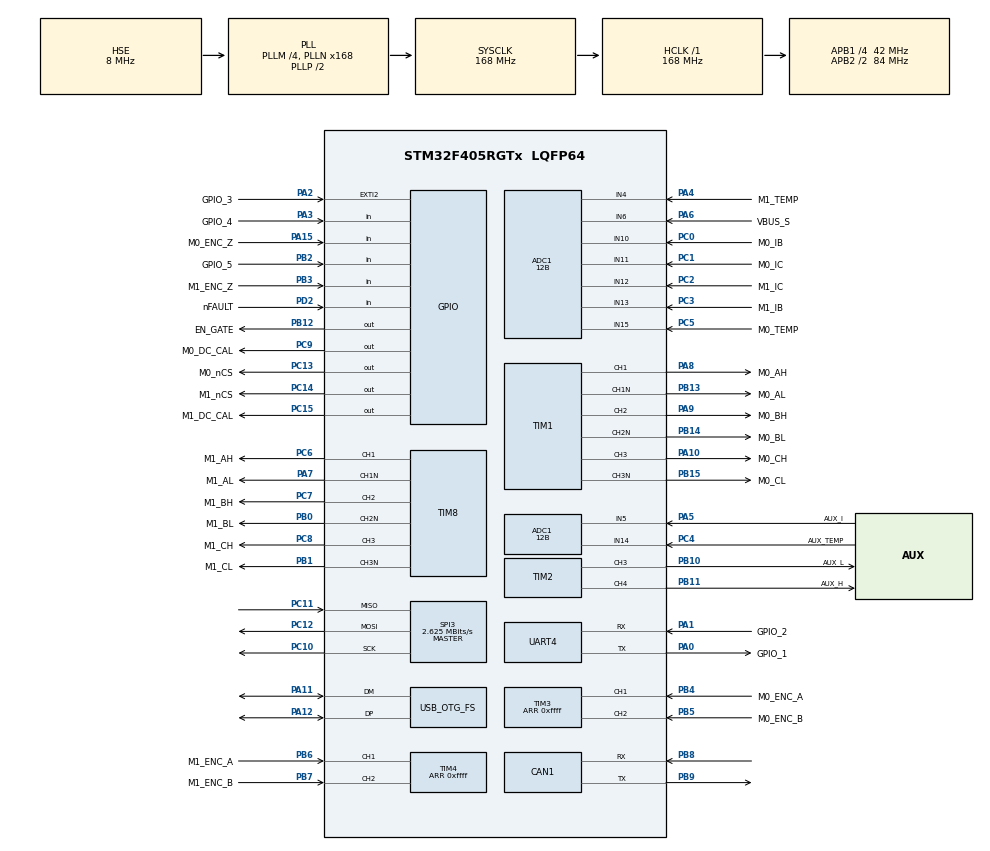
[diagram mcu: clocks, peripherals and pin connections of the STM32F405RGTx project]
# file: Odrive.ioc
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ADC1.Channel-0\#ChannelRegularConversion=ADC_CHANNEL_6
ADC1.Channel-1\#ChannelInjectedConversion=ADC_CHANNEL_6
ADC1.ClockPrescaler=ADC_CLOCK_SYNC_PCLK_DIV4
ADC1.ContinuousConvMode=DISABLE
ADC1.DMAContinuousRequests=DISABLE
ADC1.DataAlign=ADC_DATAALIGN_RIGHT
ADC1.DiscontinuousConvMode=DISABLE
ADC1.EOCSelection=ADC_EOC_SINGLE_CONV
ADC1.EnableAnalogWatchDog=false
ADC1.ExternalTrigConv=ADC_SOFTWARE_START
ADC1.ExternalTrigConvEdge=ADC_EXTERNALTRIGCONVEDGE_NONE
ADC1.ExternalTrigInjecConv=ADC_EXTERNALTRIGINJECCONV_T1_TRGO
ADC1.ExternalTrigInjecConvEdge=ADC_EXTERNALTRIGINJECCONVEDGE_RISING
ADC1.InjNumberOfConversion=1
ADC1.InjectedConvMode=None
ADC1.InjectedOffset-1\#ChannelInjectedConversion=0
ADC1.NbrOfConversion=1
ADC1.NbrOfConversionFlag=1
ADC1.Rank-0\#ChannelRegularConversion=1
ADC1.Rank-1\#ChannelInjectedConversion=1
ADC1.Resolution=ADC_RESOLUTION_12B
ADC1.SamplingTime-0\#ChannelRegularConversion=ADC_SAMPLETIME_3CYCLES
ADC1.SamplingTime-1\#ChannelInjectedConversion=ADC_SAMPLETIME_3CYCLES
ADC1.ScanConvMode=DISABLE
ADC1.master=1
ADC2.Channel-0\#ChannelRegularConversion=ADC_CHANNEL_13
ADC2.Channel-1\#ChannelInjectedConversion=ADC_CHANNEL_10
ADC2.ClockPrescaler=ADC_CLOCK_SYNC_PCLK_DIV4
ADC2.ContinuousConvMode=DISABLE
ADC2.DMAContinuousRequests=DISABLE
ADC2.DataAlign=ADC_DATAALIGN_RIGHT
ADC2.DiscontinuousConvMode=DISABLE
ADC2.EOCSelection=ADC_EOC_SINGLE_CONV
ADC2.EnableAnalogWatchDog=false
ADC2.ExternalTrigConv=ADC_EXTERNALTRIGCONV_T8_TRGO
ADC2.ExternalTrigConvEdge=ADC_EXTERNALTRIGCONVEDGE_RISING
ADC2.ExternalTrigInjecConv=ADC_EXTERNALTRIGINJECCONV_T1_TRGO
ADC2.ExternalTrigInjecConvEdge=ADC_EXTERNALTRIGINJECCONVEDGE_RISING
ADC2.InjNumberOfConversion=1
ADC2.InjectedConvMode=None
ADC2.InjectedOffset-1\#ChannelInjectedConversion=0
ADC2.NbrOfConversion=1
ADC2.NbrOfConversionFlag=1
ADC2.Rank-0\#ChannelRegularConversion=1
ADC2.Rank-1\#ChannelInjectedConversion=1
ADC2.Resolution=ADC_RESOLUTION_12B
ADC2.SamplingTime-0\#ChannelRegularConversion=ADC_SAMPLETIME_3CYCLES
ADC2.SamplingTime-1\#ChannelInjectedConversion=ADC_SAMPLETIME_3CYCLES
ADC2.ScanConvMode=DISABLE
ADC3.Channel-7\#ChannelRegularConversion=ADC_CHANNEL_12
ADC3.Channel-8\#ChannelInjectedConversion=ADC_CHANNEL_11
ADC3.ClockPrescaler=ADC_CLOCK_SYNC_PCLK_DIV4
ADC3.ContinuousConvMode=DISABLE
ADC3.DMAContinuousRequests=DISABLE
ADC3.DataAlign=ADC_DATAALIGN_RIGHT
ADC3.DiscontinuousConvMode=DISABLE
ADC3.EOCSelection=ADC_EOC_SINGLE_CONV
ADC3.EnableAnalogWatchDog=false
ADC3.ExternalTrigConv=ADC_EXTERNALTRIGCONV_T8_TRGO
ADC3.ExternalTrigConvEdge=ADC_EXTERNALTRIGCONVEDGE_RISING
ADC3.ExternalTrigInjecConv=ADC_EXTERNALTRIGINJECCONV_T1_TRGO
ADC3.ExternalTrigInjecConvEdge=ADC_EXTERNALTRIGINJECCONVEDGE_RISING
ADC3.InjNumberOfConversion=1
ADC3.InjectedConvMode=None
ADC3.InjectedOffset-8\#ChannelInjectedConversion=0
ADC3.NbrOfConversion=1
ADC3.NbrOfConversionFlag=1
ADC3.Rank-7\#ChannelRegularConversion=1
ADC3.Rank-8\#ChannelInjectedConversion=1
ADC3.Resolution=ADC_RESOLUTION_12B
ADC3.SamplingTime-7\#ChannelRegularConversion=ADC_SAMPLETIME_3CYCLES
ADC3.SamplingTime-8\#ChannelInjectedConversion=ADC_SAMPLETIME_3CYCLES
ADC3.ScanConvMode=DISABLE
CAN1.CalculateTimeBit=1142
CAN1.CalculateTimeQuantum=380.95238095238096
Dma.Request0=UART4_RX
Dma.Request1=UART4_TX
Dma.UART4_RX.0.Direction=DMA_PERIPH_TO_MEMORY
Dma.UART4_RX.0.FIFOMode=DMA_FIFOMODE_DISABLE
Dma.UART4_RX.0.Instance=DMA1_Stream2
Dma.UART4_RX.0.MemDataAlignment=DMA_MDATAALIGN_BYTE
Dma.UART4_RX.0.MemInc=DMA_MINC_ENABLE
Dma.UART4_RX.0.Mode=DMA_CIRCULAR
Dma.UART4_RX.0.PeriphDataAlignment=DMA_PDATAALIGN_BYTE
Dma.UART4_RX.0.PeriphInc=DMA_PINC_DISABLE
Dma.UART4_RX.0.Priority=DMA_PRIORITY_LOW
Dma.UART4_TX.1.Direction=DMA_MEMORY_TO_PERIPH
Dma.UART4_TX.1.FIFOMode=DMA_FIFOMODE_DISABLE
Dma.UART4_TX.1.Instance=DMA1_Stream4
Dma.UART4_TX.1.MemDataAlignment=DMA_MDATAALIGN_BYTE
Dma.UART4_TX.1.MemInc=DMA_MINC_ENABLE
Dma.UART4_TX.1.Mode=DMA_NORMAL
Dma.UART4_TX.1.PeriphDataAlignment=DMA_PDATAALIGN_BYTE
Dma.UART4_TX.1.PeriphInc=DMA_PINC_DISABLE
Dma.UART4_TX.1.Priority=DMA_PRIORITY_LOW
FREERTOS.INCLUDE_vTaskDelayUntil=1
FREERTOS.Tasks01=defaultTask,-3,256,StartDefaultTask,Default
Mcu.Family=STM32F4
Mcu.Name=STM32F405RGTx
Mcu.Package=LQFP64
Mcu.UserConstants=TIM_1_8_CLOCK_HZ,168000000;TIM_1_8_PERIOD_CLOCKS,10192;TIM_1_8_DEADTIME_CLOCKS,20;TIM_APB1_CLOCK_HZ,84000000;TIM_APB1_PERIOD_CLOCKS,4096;TIM_APB1_DEADTIME_CLOCKS,40
NVIC.ADC_IRQn=true\:5\:0\:false\:false\:true\:true\:true
NVIC.DMA1_Stream2_IRQn=true\:5\:0\:false\:false\:true\:true\:true
NVIC.DMA1_Stream4_IRQn=true\:5\:0\:false\:false\:true\:true\:false
NVIC.EXTI2_IRQn=true\:0\:0\:false\:false\:false\:false\:true
NVIC.OTG_FS_IRQn=true\:5\:0\:false\:false\:true\:true\:true
NVIC.PriorityGroup=NVIC_PRIORITYGROUP_4
NVIC.TIM8_TRG_COM_TIM14_IRQn=true\:0\:0\:false\:false\:true\:false\:false
NVIC.TimeBase=TIM8_TRG_COM_TIM14_IRQn
NVIC.TimeBaseIP=TIM14
NVIC.UART4_IRQn=true\:5\:0\:false\:false\:true\:true\:true
PA0-WKUP.GPIO_Label=GPIO_1
PA0-WKUP.GPIO_PuPd=GPIO_PULLDOWN
PA0-WKUP.Signal=SharedStack_PA0
PA0-WKUP.Stacked=true
PA1.GPIO_Label=GPIO_2
PA1.GPIO_PuPd=GPIO_NOPULL
PA1.Signal=SharedStack_PA1
PA1.Stacked=true
PA10.GPIO_Label=M0_CH
PA10.Signal=S_TIM1_CH3
PA11.Mode=Device_Only
PA11.Signal=USB_OTG_FS_DM
PA12.Mode=Device_Only
PA12.Signal=USB_OTG_FS_DP
PA13.Mode=Serial_Wire
PA13.Signal=SYS_JTMS-SWDIO
PA14.Mode=Serial_Wire
PA14.Signal=SYS_JTCK-SWCLK
PA15.GPIO_Label=M0_ENC_Z
PA15.Signal=GPIO_Input
PA2.GPIO_Label=GPIO_3
PA2.GPIO_PuPd=GPIO_PULLDOWN
PA2.Signal=GPXTI2
PA3.GPIO_Label=GPIO_4
PA3.GPIO_PuPd=GPIO_NOPULL
PA3.Signal=GPIO_Input
PA4.GPIO_Label=M1_TEMP
PA4.Signal=ADCx_IN4
PA5.GPIO_Label=AUX_I
PA5.Signal=ADCx_IN5
PA6.GPIO_Label=VBUS_S
PA6.Signal=ADCx_IN6
PA7.GPIO_Label=M1_AL
PA7.Mode=PWM Generation1 CH1 CH1N
PA7.Signal=TIM8_CH1N
PA8.GPIO_Label=M0_AH
PA8.Signal=S_TIM1_CH1
PA9.GPIO_Label=M0_BH
PA9.Signal=S_TIM1_CH2
PB0.GPIO_Label=M1_BL
PB0.Mode=PWM Generation2 CH2 CH2N
PB0.Signal=TIM8_CH2N
PB1.GPIO_Label=M1_CL
PB1.Mode=PWM Generation3 CH3 CH3N
PB1.Signal=TIM8_CH3N
PB10.GPIO_Label=AUX_L
PB10.Signal=S_TIM2_CH3
PB11.GPIO_Label=AUX_H
PB11.Signal=S_TIM2_CH4
PB12.GPIO_Label=EN_GATE
PB12.Signal=GPIO_Output
PB13.GPIO_Label=M0_AL
PB13.Mode=PWM Generation1 CH1 CH1N
PB13.Signal=TIM1_CH1N
PB14.GPIO_Label=M0_BL
PB14.Mode=PWM Generation2 CH2 CH2N
PB14.Signal=TIM1_CH2N
PB15.GPIO_Label=M0_CL
PB15.Mode=PWM Generation3 CH3 CH3N
PB15.Signal=TIM1_CH3N
PB2.GPIO_Label=GPIO_5
PB2.Signal=GPIO_Input
PB3.GPIO_Label=M1_ENC_Z
PB3.Signal=GPIO_Input
PB4.GPIO_Label=M0_ENC_A
PB4.Signal=S_TIM3_CH1
PB5.GPIO_Label=M0_ENC_B
PB5.Signal=S_TIM3_CH2
PB6.GPIO_Label=M1_ENC_A
PB6.Signal=S_TIM4_CH1
PB7.GPIO_Label=M1_ENC_B
PB7.Signal=S_TIM4_CH2
PB8.Mode=Master
PB8.Signal=CAN1_RX
PB9.Mode=Master
PB9.Signal=CAN1_TX
PC0.GPIO_Label=M0_IB
PC0.Signal=ADCx_IN10
PC1.GPIO_Label=M0_IC
PC1.Signal=ADCx_IN11
PC10.Mode=Full_Duplex_Master
PC10.Signal=SPI3_SCK
PC11.Mode=Full_Duplex_Master
PC11.Signal=SPI3_MISO
PC12.Mode=Full_Duplex_Master
PC12.Signal=SPI3_MOSI
PC13-ANTI_TAMP.GPIO_Label=M0_nCS
PC13-ANTI_TAMP.PinState=GPIO_PIN_SET
PC13-ANTI_TAMP.Signal=GPIO_Output
PC14-OSC32_IN.GPIO_Label=M1_nCS
PC14-OSC32_IN.PinState=GPIO_PIN_SET
PC14-OSC32_IN.Signal=GPIO_Output
PC15-OSC32_OUT.GPIO_Label=M1_DC_CAL
PC15-OSC32_OUT.Signal=GPIO_Output
PC2.GPIO_Label=M1_IC
PC2.Signal=ADCx_IN12
PC3.GPIO_Label=M1_IB
PC3.Signal=ADCx_IN13
PC4.GPIO_Label=AUX_TEMP
PC4.Signal=ADCx_IN14
PC5.GPIO_Label=M0_TEMP
PC5.Signal=ADCx_IN15
PC6.GPIO_Label=M1_AH
PC6.Signal=S_TIM8_CH1
PC7.GPIO_Label=M1_BH
PC7.Signal=S_TIM8_CH2
PC8.GPIO_Label=M1_CH
PC8.Signal=S_TIM8_CH3
PC9.GPIO_Label=M0_DC_CAL
PC9.Signal=GPIO_Output
PD2.GPIO_Label=nFAULT
PD2.GPIO_PuPd=GPIO_PULLUP
PD2.Signal=GPIO_Input
PH0-OSC_IN.Mode=HSE-External-Oscillator
PH0-OSC_IN.Signal=RCC_OSC_IN
PH1-OSC_OUT.Mode=HSE-External-Oscillator
PH1-OSC_OUT.Signal=RCC_OSC_OUT
ProjectManager.HeapSize=0x3C00
ProjectManager.StackSize=0x800
ProjectManager.TargetToolchain=Makefile
RCC.48MHZClocksFreq_Value=48000000
RCC.AHBFreq_Value=168000000
RCC.APB1CLKDivider=RCC_HCLK_DIV4
RCC.APB1Freq_Value=42000000
RCC.APB1TimFreq_Value=84000000
RCC.APB2CLKDivider=RCC_HCLK_DIV2
RCC.APB2Freq_Value=84000000
RCC.APB2TimCLKDivider=1
RCC.APB2TimFreq_Value=84000000
RCC.CortexFreq_Value=168000000
RCC.HCLKFreq_Value=168000000
RCC.HSE_VALUE=8000000
RCC.HSI_VALUE=16000000
RCC.LSE_VALUE=32768
RCC.PLLM=4
RCC.PLLN=168
RCC.PLLQ=7
RCC.SYSCLKFreq_VALUE=168000000
RCC.SYSCLKSource=RCC_SYSCLKSOURCE_PLLCLK
RCC.VCOOutputFreq_Value=336000000
SH.ADCx_IN10.0=ADC1_IN10,IN10
SH.ADCx_IN10.1=ADC2_IN10,IN10
SH.ADCx_IN10.2=ADC3_IN10,IN10
SH.ADCx_IN11.0=ADC1_IN11,IN11
SH.ADCx_IN11.1=ADC2_IN11,IN11
SH.ADCx_IN11.2=ADC3_IN11,IN11
SH.ADCx_IN12.0=ADC1_IN12,IN12
SH.ADCx_IN12.1=ADC2_IN12,IN12
SH.ADCx_IN12.2=ADC3_IN12,IN12
SH.ADCx_IN13.0=ADC1_IN13,IN13
SH.ADCx_IN13.1=ADC2_IN13,IN13
SH.ADCx_IN13.2=ADC3_IN13,IN13
SH.ADCx_IN14.0=ADC1_IN14,IN14
SH.ADCx_IN14.1=ADC2_IN14,IN14
SH.ADCx_IN15.0=ADC1_IN15,IN15
SH.ADCx_IN15.1=ADC2_IN15,IN15
SH.ADCx_IN4.0=ADC1_IN4,IN4
SH.ADCx_IN4.1=ADC2_IN4,IN4
SH.ADCx_IN5.0=ADC1_IN5,IN5
SH.ADCx_IN5.1=ADC2_IN5,IN5
SH.ADCx_IN6.0=ADC1_IN6,IN6
SH.ADCx_IN6.1=ADC2_IN6,IN6
SH.S_TIM1_CH1.0=TIM1_CH1,PWM Generation1 CH1 CH1N
SH.S_TIM1_CH2.0=TIM1_CH2,PWM Generation2 CH2 CH2N
SH.S_TIM1_CH3.0=TIM1_CH3,PWM Generation3 CH3 CH3N
SH.S_TIM2_CH3.0=TIM2_CH3,PWM Generation3 CH3
SH.S_TIM2_CH4.0=TIM2_CH4,PWM Generation4 CH4
SH.S_TIM3_CH1.0=TIM3_CH1,Encoder_Interface
SH.S_TIM3_CH2.0=TIM3_CH2,Encoder_Interface
SH.S_TIM4_CH1.0=TIM4_CH1,Encoder_Interface
SH.S_TIM4_CH2.0=TIM4_CH2,Encoder_Interface
SH.S_TIM8_CH1.0=TIM8_CH1,PWM Generation1 CH1 CH1N
SH.S_TIM8_CH2.0=TIM8_CH2,PWM Generation2 CH2 CH2N
SH.S_TIM8_CH3.0=TIM8_CH3,PWM Generation3 CH3 CH3N
SH.SharedStack_PA0.0=GPIO_EXTI0+0
SH.SharedStack_PA0.1=UART4_TX,Asynchronous
SH.SharedStack_PA1.0=GPIO_Input+0
SH.SharedStack_PA1.1=UART4_RX,Asynchronous
SPI3.BaudRatePrescaler=SPI_BAUDRATEPRESCALER_16
SPI3.CLKPhase=SPI_PHASE_2EDGE
SPI3.CalculateBaudRate=2.625 MBits/s
SPI3.DataSize=SPI_DATASIZE_16BIT
SPI3.Direction=SPI_DIRECTION_2LINES
SPI3.FirstBit=SPI_FIRSTBIT_MSB
SPI3.Mode=SPI_MODE_MASTER
SPI3.VirtualType=VM_MASTER
TIM1.Channel-Output\ Compare4\ No\ Output=TIM_CHANNEL_4
TIM1.Channel-PWM\ Generation1\ CH1\ CH1N=TIM_CHANNEL_1
TIM1.Channel-PWM\ Generation2\ CH2\ CH2N=TIM_CHANNEL_2
TIM1.Channel-PWM\ Generation3\ CH3\ CH3N=TIM_CHANNEL_3
TIM1.CounterMode=TIM_COUNTERMODE_CENTERALIGNED3
TIM1.DeadTime=TIM_1_8_DEADTIME_CLOCKS
TIM1.OCMode_PWM-PWM\ Generation1\ CH1\ CH1N=TIM_OCMODE_PWM2
TIM1.OCMode_PWM-PWM\ Generation2\ CH2\ CH2N=TIM_OCMODE_PWM2
TIM1.OCMode_PWM-PWM\ Generation3\ CH3\ CH3N=TIM_OCMODE_PWM2
TIM1.OCNPolarity_1=TIM_OCNPOLARITY_HIGH
TIM1.OCNPolarity_2=TIM_OCNPOLARITY_HIGH
TIM1.OCNPolarity_3=TIM_OCNPOLARITY_HIGH
TIM1.OffStateIDLEMode=TIM_OSSI_ENABLE
TIM1.OffStateRunMode=TIM_OSSR_ENABLE
TIM1.Period=TIM_1_8_PERIOD_CLOCKS
TIM1.TIM_MasterOutputTrigger=TIM_TRGO_UPDATE
TIM2.Channel-PWM\ Generation3\ CH3=TIM_CHANNEL_3
TIM2.Channel-PWM\ Generation4\ CH4=TIM_CHANNEL_4
TIM2.CounterMode=TIM_COUNTERMODE_CENTERALIGNED3
TIM2.OCMode_PWM-PWM\ Generation3\ CH3=TIM_OCMODE_PWM2
TIM2.OCMode_PWM-PWM\ Generation4\ CH4=TIM_OCMODE_PWM2
TIM2.OCPolarity_3=TIM_OCPOLARITY_LOW
TIM2.Period=TIM_APB1_PERIOD_CLOCKS
TIM2.Pulse-PWM\ Generation4\ CH4=TIM_APB1_PERIOD_CLOCKS+1
TIM3.EncoderMode=TIM_ENCODERMODE_TI12
TIM3.IC1Filter=4
TIM3.IC1Polarity=TIM_ICPOLARITY_RISING
TIM3.IC2Filter=4
TIM3.IC2Polarity=TIM_ICPOLARITY_RISING
TIM3.Period=0xffff
TIM4.EncoderMode=TIM_ENCODERMODE_TI12
TIM4.IC1Filter=4
TIM4.IC1Polarity=TIM_ICPOLARITY_RISING
TIM4.IC2Filter=4
TIM4.IC2Polarity=TIM_ICPOLARITY_RISING
TIM4.Period=0xffff
TIM8.Channel-Output\ Compare4\ No\ Output=TIM_CHANNEL_4
TIM8.Channel-PWM\ Generation1\ CH1\ CH1N=TIM_CHANNEL_1
TIM8.Channel-PWM\ Generation2\ CH2\ CH2N=TIM_CHANNEL_2
TIM8.Channel-PWM\ Generation3\ CH3\ CH3N=TIM_CHANNEL_3
TIM8.CounterMode=TIM_COUNTERMODE_CENTERALIGNED3
TIM8.DeadTime=TIM_1_8_DEADTIME_CLOCKS
TIM8.OCMode_PWM-PWM\ Generation1\ CH1\ CH1N=TIM_OCMODE_PWM2
TIM8.OCMode_PWM-PWM\ Generation2\ CH2\ CH2N=TIM_OCMODE_PWM2
TIM8.OCMode_PWM-PWM\ Generation3\ CH3\ CH3N=TIM_OCMODE_PWM2
TIM8.OffStateIDLEMode=TIM_OSSI_ENABLE
TIM8.OffStateRunMode=TIM_OSSR_ENABLE
TIM8.Period=TIM_1_8_PERIOD_CLOCKS
TIM8.TIM_MasterOutputTrigger=TIM_TRGO_UPDATE
UART4.VirtualMode=Asynchronous
USB_DEVICE.APP_RX_DATA_SIZE-CDC_FS=64
USB_DEVICE.APP_TX_DATA_SIZE-CDC_FS=64
USB_DEVICE.CLASS_NAME_FS=CDC
USB_DEVICE.MANUFACTURER_STRING-CDC_FS=ODrive Robotics
USB_DEVICE.PID_CDC_FS=0x0D33
USB_DEVICE.PRODUCT_STRING_CDC_FS=ODrive v3.3
USB_DEVICE.SERIALNUMBER_STRING_CDC_FS=000000000001
USB_DEVICE.VID-CDC_FS=0x1209
USB_DEVICE.VirtualMode-CDC_FS=Cdc
USB_DEVICE.VirtualModeFS=Cdc_FS
USB_OTG_FS.VirtualMode=Device_Only
USB_OTG_FS.vbus_sensing_enable=DISABLE
VP_FREERTOS_VS_ENABLE.Mode=Enabled
VP_SYS_VS_tim14.Mode=TIM14
VP_TIM1_VS_ClockSourceINT.Mode=Internal
VP_TIM1_VS_no_output4.Mode=Output Compare4 No Output
VP_USB_DEVICE_VS_USB_DEVICE_CDC_FS.Mode=CDC_FS
board=Odrive

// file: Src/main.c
/**
  ******************************************************************************
  * File Name          : main.c
  * Description        : Main program body
  ******************************************************************************
  * This notice applies to any and all portions of this file
  * that are not between comment pairs USER CODE BEGIN and
  * USER CODE END. Other portions of this file, whether
  * inserted by the user or by software development tools
  * are owned by their respective copyright owners.
  *
  * Copyright (c) 2017 STMicroelectronics International N.V.
  * All rights reserved.
  *
  * Redistribution and use in source and binary forms, with or without
  * modification, are permitted, provided that the following conditions are met:
  *
  * 1. Redistribution of source code must retain the above copyright notice,
  *    this list of conditions and the following disclaimer.
  * 2. Redistributions in binary form must reproduce the above copyright notice,
  *    this list of conditions and the following disclaimer in the documentation
  *    and/or other materials provided with the distribution.
  * 3. Neither the name of STMicroelectronics nor the names of other
  *    contributors to this software may be used to endorse or promote products
  *    derived from this software without specific written permission.
  * 4. This software, including modifications and/or derivative works of this
  *    software, must execute solely and exclusively on microcontroller or
  *    microprocessor devices manufactured by or for STMicroelectronics.
  * 5. Redistribution and use of this software other than as permitted under
  *    this license is void and will automatically terminate your rights under
  *    this license.
  *
  * THIS SOFTWARE IS PROVIDED BY STMICROELECTRONICS AND CONTRIBUTORS "AS IS"
  * AND ANY EXPRESS, IMPLIED OR STATUTORY WARRANTIES, INCLUDING, BUT NOT
  * LIMITED TO, THE IMPLIED WARRANTIES OF MERCHANTABILITY, FITNESS FOR A
  * PARTICULAR PURPOSE AND NON-INFRINGEMENT OF THIRD PARTY INTELLECTUAL PROPERTY
  * RIGHTS ARE DISCLAIMED TO THE FULLEST EXTENT PERMITTED BY LAW. IN NO EVENT
  * SHALL STMICROELECTRONICS OR CONTRIBUTORS BE LIABLE FOR ANY DIRECT, INDIRECT,
  * INCIDENTAL, SPECIAL, EXEMPLARY, OR CONSEQUENTIAL DAMAGES (INCLUDING, BUT NOT
  * LIMITED TO, PROCUREMENT OF SUBSTITUTE GOODS OR SERVICES; LOSS OF USE, DATA,
  * OR PROFITS; OR BUSINESS INTERRUPTION) HOWEVER CAUSED AND ON ANY THEORY OF
  * LIABILITY, WHETHER IN CONTRACT, STRICT LIABILITY, OR TORT (INCLUDING
  * NEGLIGENCE OR OTHERWISE) ARISING IN ANY WAY OUT OF THE USE OF THIS SOFTWARE,
  * EVEN IF ADVISED OF THE POSSIBILITY OF SUCH DAMAGE.
  *
  ******************************************************************************
  */
#include "main.h"
#include "stm32f4xx_hal.h"
#include "cmsis_os.h"
#include "adc.h"
#include "can.h"
#include "dma.h"
#include "spi.h"
#include "tim.h"
#include "usart.h"
#include "usb_device.h"
#include "gpio.h"

/* USER CODE BEGIN PV */
/* Private variables ---------------------------------------------------------*/

/* USER CODE END PV */

void SystemClock_Config(void);
void MX_FREERTOS_Init(void);

/* USER CODE BEGIN PFP */
/* Private function prototypes -----------------------------------------------*/

/* USER CODE END PFP */

/* USER CODE BEGIN 0 */

void jump_to_builtin_bootloader(void) {
  __set_MSP(0x20001000);
  // http://www.st.com/content/ccc/resource/technical/document/application_note/6a/17/92/02/58/98/45/0c/CD00264379.pdf/files/CD00264379.pdf
  void (*builtin_bootloader)(void) = (void (*)(void))(*((uint32_t *)0x1FFF0004));
  builtin_bootloader();
  for (;;);
}

/* USER CODE END 0 */

int main(void)
{

  /* USER CODE BEGIN 1 */

  /* We could jump to the bootloader directly on demand without rebooting
  but that requires us to reset several peripherals and interrupts for it
  to function correctly. Therefore it's easier to just reset the entire chip. */

  if(*((unsigned long *)0x2001C000) == 0xDEADBEEF) {
    *((unsigned long *)0x2001C000) = 0xCAFEFEED;  //Reset bootloader trigger
    jump_to_builtin_bootloader();
  }
  /* USER CODE END 1 */

  /* MCU Configuration----------------------------------------------------------*/

  /* Reset of all peripherals, Initializes the Flash interface and the Systick. */
  HAL_Init();

  /* Configure the system clock */
  SystemClock_Config();

  /* Initialize all configured peripherals */
  MX_GPIO_Init();
  MX_DMA_Init();
  MX_ADC1_Init();
  MX_ADC2_Init();
  MX_CAN1_Init();
  MX_TIM1_Init();
  MX_TIM8_Init();
  MX_TIM3_Init();
  MX_TIM4_Init();
  MX_SPI3_Init();
  MX_ADC3_Init();
  MX_TIM2_Init();
  MX_UART4_Init();

  /* USER CODE BEGIN 2 */

  //Required to use OC4 for ADC triggering.
  OC4_PWM_Override(&htim1);
  OC4_PWM_Override(&htim8);

  /* USER CODE END 2 */

  /* Call init function for freertos objects (in freertos.c) */
  MX_FREERTOS_Init();

  /* Start scheduler */
  osKernelStart();

  /* We should never get here as control is now taken by the scheduler */

  /* Infinite loop */
  while (1)
  {

  }

}

/** System Clock Configuration
*/
void SystemClock_Config(void)
{

  RCC_OscInitTypeDef RCC_OscInitStruct;
  RCC_ClkInitTypeDef RCC_ClkInitStruct;

    /**Configure the main internal regulator output voltage
    */
  __HAL_RCC_PWR_CLK_ENABLE();

  __HAL_PWR_VOLTAGESCALING_CONFIG(PWR_REGULATOR_VOLTAGE_SCALE1);

    /**Initializes the CPU, AHB and APB busses clocks
    */
  RCC_OscInitStruct.OscillatorType = RCC_OSCILLATORTYPE_HSE;
  RCC_OscInitStruct.HSEState = RCC_HSE_ON;
  RCC_OscInitStruct.PLL.PLLState = RCC_PLL_ON;
  RCC_OscInitStruct.PLL.PLLSource = RCC_PLLSOURCE_HSE;
  RCC_OscInitStruct.PLL.PLLM = 4;
  RCC_OscInitStruct.PLL.PLLN = 168;
  RCC_OscInitStruct.PLL.PLLP = RCC_PLLP_DIV2;
  RCC_OscInitStruct.PLL.PLLQ = 7;
  if (HAL_RCC_OscConfig(&RCC_OscInitStruct) != HAL_OK)
  {
    _Error_Handler(__FILE__, __LINE__);
  }

    /**Initializes the CPU, AHB and APB busses clocks
    */
  RCC_ClkInitStruct.ClockType = RCC_CLOCKTYPE_HCLK|RCC_CLOCKTYPE_SYSCLK
                              |RCC_CLOCKTYPE_PCLK1|RCC_CLOCKTYPE_PCLK2;
  RCC_ClkInitStruct.SYSCLKSource = RCC_SYSCLKSOURCE_PLLCLK;
  RCC_ClkInitStruct.AHBCLKDivider = RCC_SYSCLK_DIV1;
  RCC_ClkInitStruct.APB1CLKDivider = RCC_HCLK_DIV4;
  RCC_ClkInitStruct.APB2CLKDivider = RCC_HCLK_DIV2;

  if (HAL_RCC_ClockConfig(&RCC_ClkInitStruct, FLASH_LATENCY_5) != HAL_OK)
  {
    _Error_Handler(__FILE__, __LINE__);
  }

    /**Configure the Systick interrupt time
    */
  HAL_SYSTICK_Config(HAL_RCC_GetHCLKFreq()/1000);

    /**Configure the Systick
    */
  HAL_SYSTICK_CLKSourceConfig(SYSTICK_CLKSOURCE_HCLK);

  /* SysTick_IRQn interrupt configuration */
  HAL_NVIC_SetPriority(SysTick_IRQn, 15, 0);
}

void HAL_TIM_PeriodElapsedCallback(TIM_HandleTypeDef *htim)
{
  if (htim->Instance == TIM14) {
    HAL_IncTick();
  }
}

void _Error_Handler(char * file, int line)
{
  while(1)
  {
  }
}

/************************ (C) COPYRIGHT STMicroelectronics *****END OF FILE****/

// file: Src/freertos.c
/**
  ******************************************************************************
  * File Name          : freertos.c
  * Description        : Code for freertos applications
  ******************************************************************************
  * This notice applies to any and all portions of this file
  * that are not between comment pairs USER CODE BEGIN and
  * USER CODE END. Other portions of this file, whether
  * inserted by the user or by software development tools
  * are owned by their respective copyright owners.
  *
  * Copyright (c) 2017 STMicroelectronics International N.V.
  * All rights reserved.
  *
  * Redistribution and use in source and binary forms, with or without
  * modification, are permitted, provided that the following conditions are met:
  *
  * 1. Redistribution of source code must retain the above copyright notice,
  *    this list of conditions and the following disclaimer.
  * 2. Redistributions in binary form must reproduce the above copyright notice,
  *    this list of conditions and the following disclaimer in the documentation
  *    and/or other materials provided with the distribution.
  * 3. Neither the name of STMicroelectronics nor the names of other
  *    contributors to this software may be used to endorse or promote products
  *    derived from this software without specific written permission.
  * 4. This software, including modifications and/or derivative works of this
  *    software, must execute solely and exclusively on microcontroller or
  *    microprocessor devices manufactured by or for STMicroelectronics.
  * 5. Redistribution and use of this software other than as permitted under
  *    this license is void and will automatically terminate your rights under
  *    this license.
  *
  * THIS SOFTWARE IS PROVIDED BY STMICROELECTRONICS AND CONTRIBUTORS "AS IS"
  * AND ANY EXPRESS, IMPLIED OR STATUTORY WARRANTIES, INCLUDING, BUT NOT
  * LIMITED TO, THE IMPLIED WARRANTIES OF MERCHANTABILITY, FITNESS FOR A
  * PARTICULAR PURPOSE AND NON-INFRINGEMENT OF THIRD PARTY INTELLECTUAL PROPERTY
  * RIGHTS ARE DISCLAIMED TO THE FULLEST EXTENT PERMITTED BY LAW. IN NO EVENT
  * SHALL STMICROELECTRONICS OR CONTRIBUTORS BE LIABLE FOR ANY DIRECT, INDIRECT,
  * INCIDENTAL, SPECIAL, EXEMPLARY, OR CONSEQUENTIAL DAMAGES (INCLUDING, BUT NOT
  * LIMITED TO, PROCUREMENT OF SUBSTITUTE GOODS OR SERVICES; LOSS OF USE, DATA,
  * OR PROFITS; OR BUSINESS INTERRUPTION) HOWEVER CAUSED AND ON ANY THEORY OF
  * LIABILITY, WHETHER IN CONTRACT, STRICT LIABILITY, OR TORT (INCLUDING
  * NEGLIGENCE OR OTHERWISE) ARISING IN ANY WAY OUT OF THE USE OF THIS SOFTWARE,
  * EVEN IF ADVISED OF THE POSSIBILITY OF SUCH DAMAGE.
  *
  ******************************************************************************
  */

#include "FreeRTOS.h"
#include "task.h"
#include "cmsis_os.h"

/* USER CODE BEGIN Includes */
#include "freertos_vars.h"
#include "low_level.h"
#include "axis_c_interface.h"
#include "commands.h"
#include "config.h"
/* USER CODE END Includes */

osThreadId defaultTaskHandle;

/* USER CODE BEGIN Variables */
// List of semaphores
osSemaphoreId sem_usb_irq;

// List of threads
osThreadId thread_motor_0;
osThreadId thread_motor_1;
osThreadId thread_cmd_parse;

// Place FreeRTOS heap in core coupled memory for better performance
__attribute__((section(".ccmram")))
uint8_t ucHeap[configTOTAL_HEAP_SIZE];
/* USER CODE END Variables */

void StartDefaultTask(void const * argument);

extern void MX_USB_DEVICE_Init(void);
void MX_FREERTOS_Init(void); /* (MISRA C 2004 rule 8.1) */

/* Hook prototypes */

/* Init FreeRTOS */

void MX_FREERTOS_Init(void) {

  /* USER CODE BEGIN RTOS_SEMAPHORES */
  // Init usb irq binary semaphore, and start with no tokens by removing the starting one.
  osSemaphoreDef(sem_usb_irq);
  sem_usb_irq = osSemaphoreCreate(osSemaphore(sem_usb_irq), 1);
  osSemaphoreWait(sem_usb_irq, 0);

  // Create a semaphore for UART DMA and remove a token
  osSemaphoreDef(sem_uart_dma);
  sem_uart_dma = osSemaphoreCreate(osSemaphore(sem_uart_dma), 1);

  // Create a semaphore for USB RX
  osSemaphoreDef(sem_usb_rx);
  sem_usb_rx = osSemaphoreCreate(osSemaphore(sem_usb_rx), 1);
  osSemaphoreWait(sem_usb_rx, 0);  // Remove a token.

  // Create a semaphore for USB RX
  osSemaphoreDef(sem_usb_tx);
  sem_usb_tx = osSemaphoreCreate(osSemaphore(sem_usb_tx), 1);

  /* USER CODE END RTOS_SEMAPHORES */

  /* Create the thread(s) */
  /* definition and creation of defaultTask */
  osThreadDef(defaultTask, StartDefaultTask, osPriorityIdle, 0, 256);
  defaultTaskHandle = osThreadCreate(osThread(defaultTask), NULL);

}

/* StartDefaultTask function */
void StartDefaultTask(void const * argument)
{
  /* init code for USB_DEVICE */
  MX_USB_DEVICE_Init();

  /* USER CODE BEGIN StartDefaultTask */

  // Init and load persistent configuration
  init_configuration();

  // Init communications
  init_communication();

  // Init motor control
  init_motor_control();

  // Start motor threads
  osThreadDef(task_motor_0, axis_thread_entry,   osPriorityHigh+1, 0, 512);
  osThreadDef(task_motor_1, axis_thread_entry,   osPriorityHigh,   0, 512);
  thread_motor_0 = osThreadCreate(osThread(task_motor_0), &motors[0]);
  thread_motor_1 = osThreadCreate(osThread(task_motor_1), &motors[1]);

  // Start command handling thread
  osThreadDef(task_cmd_parse, communication_task, osPriorityNormal, 0, 512);
  thread_cmd_parse = osThreadCreate(osThread(task_cmd_parse), NULL);

  // Start USB interrupt handler thread
  osThreadDef(task_usb_pump, usb_update_thread, osPriorityNormal, 0, 512);
  thread_usb_pump = osThreadCreate(osThread(task_usb_pump), NULL);

  //If we get to here, then the default task is done.
  vTaskDelete(defaultTaskHandle);

  /* USER CODE END StartDefaultTask */
}

/************************ (C) COPYRIGHT STMicroelectronics *****END OF FILE****/
